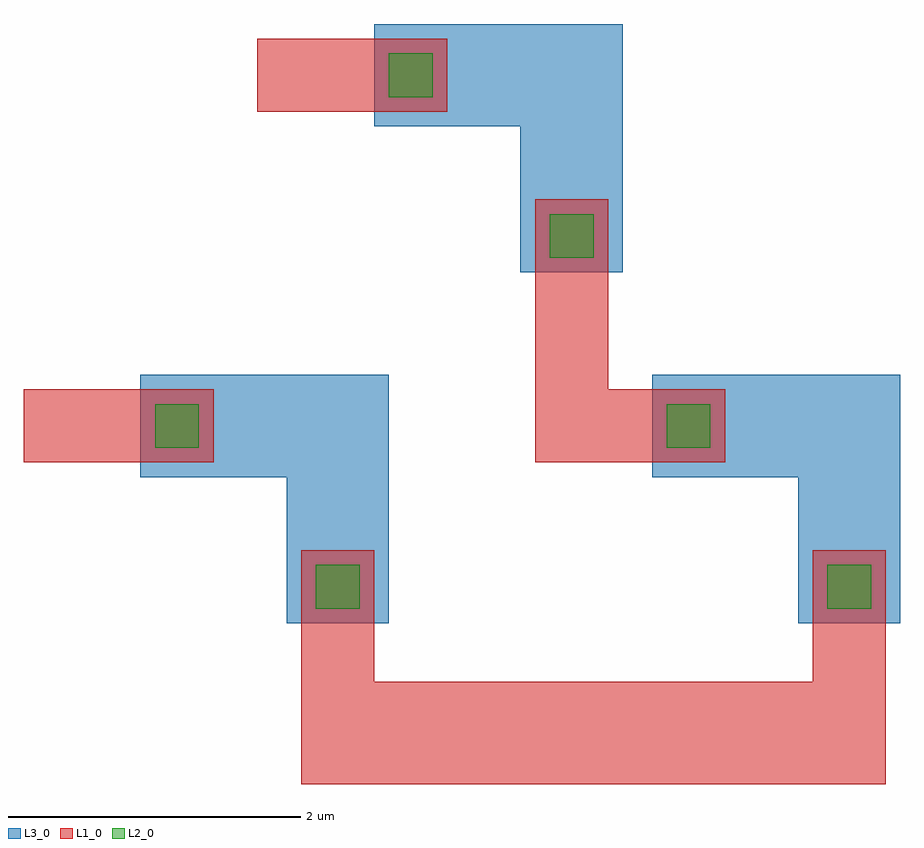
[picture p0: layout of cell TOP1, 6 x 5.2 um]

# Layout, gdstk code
from math import pi, radians
import gdstk
lib = gdstk.Library(unit=1e-6, precision=1e-09)
def R(c, l, rs):  # rectangles x0, y0, x1, y1
    for r in rs: c.add(gdstk.rectangle(r[:2], r[2:], *l))
L1_0 = (1, 0)
L2_0 = (2, 0)
L3_0 = (3, 0)

c_a = lib.new_cell('A')
R(c_a, L1_0, [(-0.6,0.3,0.7,0.8)])
R(c_a, L2_0, [(0.3,0.4,0.6,0.7)])
R(c_a, L3_0, [(0.2,0.2,1.9,0.9)])

c_b = lib.new_cell('B')
c_b.add(gdstk.Reference(c_a, (0.1,0)))
c_b.add(gdstk.Reference(c_a, (2.2,-1), rotation=pi/2))
c_b.add(gdstk.Reference(c_a, (2,-2.4)))
c_b.add(gdstk.Reference(c_a, (4.1,-3.4), rotation=pi/2))
c_b.add(gdstk.Reference(c_a, (0.6,-3.4), rotation=pi/2))
c_b.add(gdstk.Reference(c_a, (-1.5,-2.4)))

top1 = lib.new_cell('TOP1')
R(top1, L1_0, [(-1,-2.5,3,-1.8)])
top1.add(gdstk.Reference(c_b, (-0.8,1.8)))

lib.write_gds('TOP1.gds')
